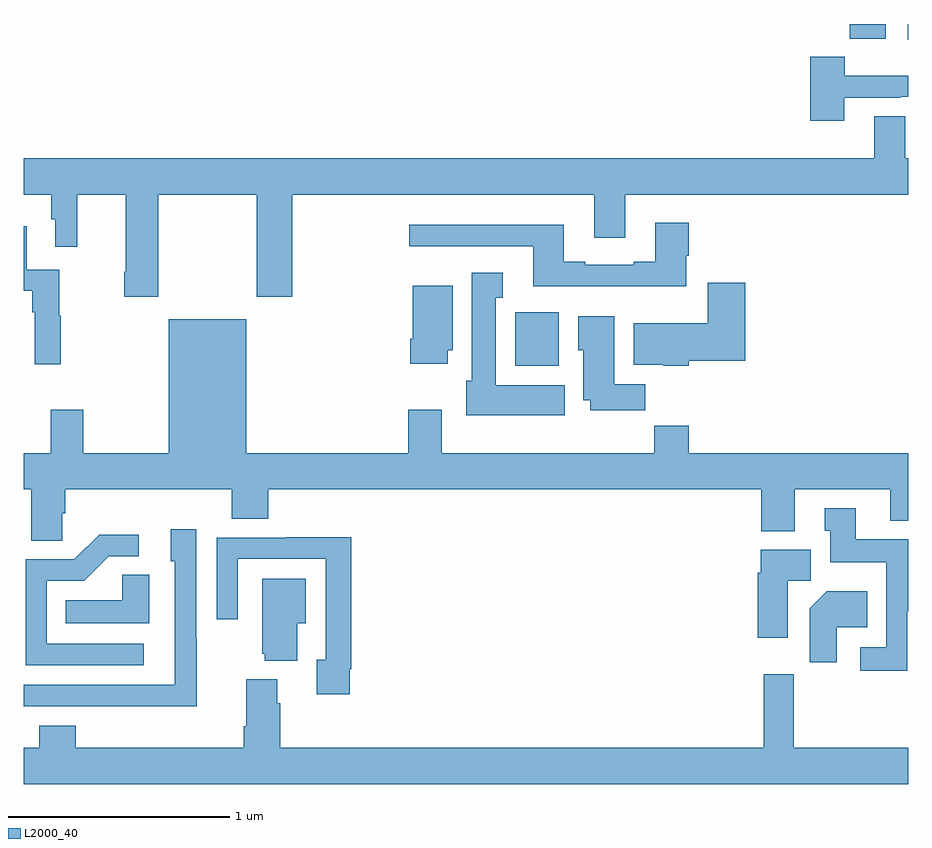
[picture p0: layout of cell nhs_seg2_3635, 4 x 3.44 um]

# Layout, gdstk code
import gdstk
lib = gdstk.Library(unit=1e-6, precision=1e-09)
def R(c, l, rs):  # rectangles x0, y0, x1, y1
    for r in rs: c.add(gdstk.rectangle(r[:2], r[2:], *l))
def P(c, l, *ps):  # polygons
    for p in ps: c.add(gdstk.Polygon(p, *l))
L2000_40 = (2000, 40)

nhs_seg2_3635 = lib.new_cell('nhs_seg2_3635')
R(nhs_seg2_3635, L2000_40, [(305.222,588.254,305.419,588.496), (306.998,589.728,307,589.8), (306.736,589.733,306.898,589.8)])
P(nhs_seg2_3635, L2000_40, [(306.709,589.467),(306.965,589.467),(306.965,589.47),(307,589.47),(307,589.567),(306.712,589.567),(306.712,589.651),(306.557,589.651),(306.557,589.362),(306.709,589.362)],
  [(303.609,589.028),(304.054,589.028),(304.054,588.567),(304.214,588.567),(304.214,589.028),(305.579,589.028),(305.579,588.834),(305.719,588.834),(305.719,589.028),(307,589.028),(307,589.192),(306.985,589.192),(306.985,589.382),(306.845,589.382),(306.845,589.192),(303,589.192),(303,589.028),(303.124,589.028),(303.124,588.918),(303.144,588.918),(303.144,588.792),(303.243,588.792),(303.243,589.028),(303.461,589.028),(303.461,588.679),(303.454,588.679),(303.454,588.567),(303.609,588.567)],
  [(305.995,588.753),(306.008,588.753),(306.008,588.901),(305.855,588.901),(305.855,588.724),(305.759,588.724),(305.759,588.711),(305.539,588.711),(305.539,588.724),(305.443,588.724),(305.443,588.892),(304.743,588.892),(304.743,588.795),(305.303,588.795),(305.303,588.614),(305.995,588.614)],
  [(303.167,588.48),(303.16,588.48),(303.16,588.69),(303.015,588.69),(303.015,588.886),(303,588.886),(303,588.593),(303.039,588.593),(303.039,588.497),(303.051,588.497),(303.051,588.261),(303.167,588.261)],
  [(305.446,588.166),(305.134,588.166),(305.134,588.563),(305.167,588.563),(305.167,588.676),(305.027,588.676),(305.027,588.186),(305,588.186),(305,588.032),(305.446,588.032)],
  [(306.006,588.278),(306.263,588.278),(306.263,588.631),(306.092,588.631),(306.092,588.448),(305.759,588.448),(305.759,588.26),(305.892,588.26),(305.892,588.254),(306.006,588.254)],
  [(304.918,588.324),(304.939,588.324),(304.939,588.616),(304.76,588.616),(304.76,588.376),(304.748,588.376),(304.748,588.264),(304.918,588.264)],
  [(305.81,588.172),(305.671,588.172),(305.671,588.478),(305.507,588.478),(305.507,588.324),(305.531,588.324),(305.531,588.098),(305.561,588.098),(305.561,588.054),(305.81,588.054)],
  [(303.174,587.587),(303.188,587.587),(303.188,587.696),(303.941,587.696),(303.941,587.563),(304.106,587.563),(304.106,587.696),(306.335,587.696),(306.335,587.507),(306.487,587.507),(306.487,587.696),(306.917,587.696),(306.917,587.555),(307,587.555),(307,587.86),(306.008,587.86),(306.008,587.984),(305.851,587.984),(305.851,587.86),(304.891,587.86),(304.891,588.055),(304.739,588.055),(304.739,587.86),(304.006,587.86),(304.006,588.466),(303.656,588.466),(303.656,587.86),(303.27,587.86),(303.27,588.055),(303.122,588.055),(303.122,587.86),(303,587.86),(303,587.696),(303.035,587.696),(303.035,587.464),(303.174,587.464)],
  [(306.996,587.144),(307,587.144),(307,587.284),(306.999,587.284),(306.999,587.47),(306.763,587.47),(306.763,587.611),(306.623,587.611),(306.623,587.508),(306.647,587.508),(306.647,587.366),(306.9,587.366),(306.9,586.983),(306.783,586.983),(306.783,586.875),(306.996,586.875)],
  [(303.783,587.021),(303.78,587.021),(303.78,587.515),(303.665,587.515),(303.665,587.37),(303.684,587.37),(303.684,586.812),(303,586.812),(303,586.716),(303.319,586.716),(303.319,586.715),(303.783,586.715)],
  [(303.544,586.998),(303.105,586.998),(303.105,587.283),(303.274,587.283),(303.385,587.394),(303.52,587.394),(303.52,587.492),(303.341,587.492),(303.228,587.379),(303.009,587.379),(303.009,586.902),(303.544,586.902)],
  [(304.474,586.882),(304.481,586.882),(304.481,587.48),(304.189,587.48),(304.189,587.478),(303.873,587.478),(303.873,587.109),(303.969,587.109),(303.969,587.382),(304.365,587.382),(304.365,586.926),(304.325,586.926),(304.325,586.77),(304.474,586.77)],
  [(306.454,587.284),(306.559,587.284),(306.559,587.422),(306.332,587.422),(306.332,587.318),(306.32,587.318),(306.32,587.025),(306.454,587.025)],
  [(303.568,587.309),(303.447,587.309),(303.447,587.194),(303.19,587.194),(303.19,587.09),(303.568,587.09)],
  [(304.237,587.09),(304.276,587.09),(304.276,587.293),(304.079,587.293),(304.079,586.953),(304.091,586.953),(304.091,586.922),(304.237,586.922)],
  [(306.676,587.072),(306.815,587.072),(306.815,587.236),(306.632,587.236),(306.554,587.158),(306.554,586.914),(306.676,586.914)],
  [(307,586.528),(306.482,586.528),(306.482,586.861),(306.346,586.861),(306.346,586.528),(304.16,586.528),(304.16,586.73),(304.147,586.73),(304.147,586.837),(304.007,586.837),(304.007,586.624),(303.995,586.624),(303.995,586.528),(303.236,586.528),(303.236,586.627),(303.071,586.627),(303.071,586.528),(303,586.528),(303,586.364),(307,586.364)])

lib.write_gds('nhs_seg2_3635.gds')
